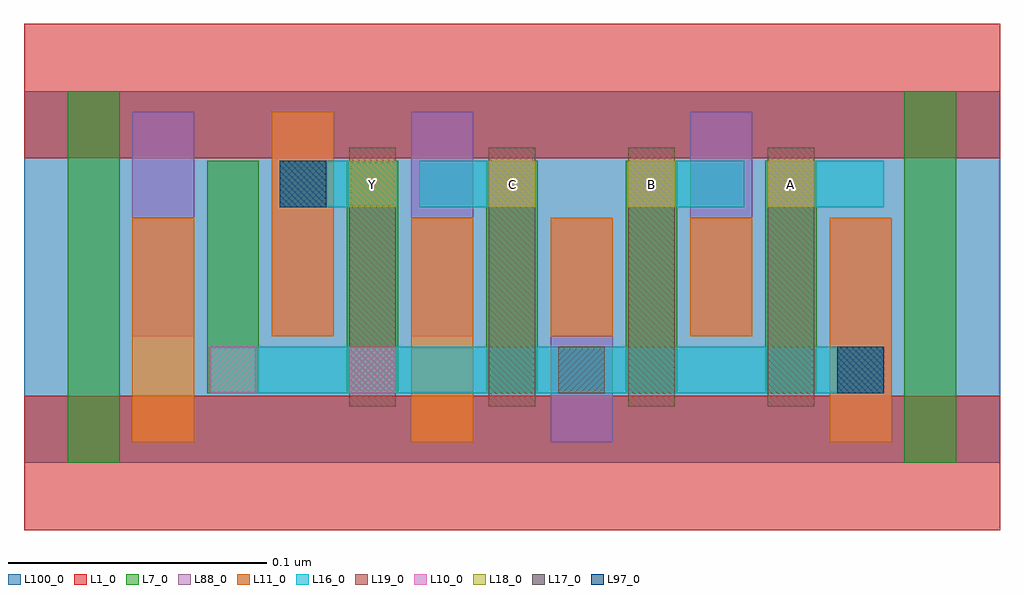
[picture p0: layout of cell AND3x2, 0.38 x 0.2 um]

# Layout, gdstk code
import gdstk
lib = gdstk.Library(unit=1e-6, precision=2.5e-10)
def R(c, l, rs):  # rectangles x0, y0, x1, y1
    for r in rs: c.add(gdstk.rectangle(r[:2], r[2:], *l))
def A(c, l, x, y, w, h, nx, ny, dx, dy):  # array of equal rectangles
    R(c, l, [(x+i*dx, y+j*dy, x+i*dx+w, y+j*dy+h) for i in range(nx) for j in range(ny)])
L1_0 = (1, 0)
L7_0 = (7, 0)
L10_0 = (10, 0)
L11_0 = (11, 0)
L16_0 = (16, 0)
L17_0 = (17, 0)
L18_0 = (18, 0)
L19_0 = (19, 0)
L88_0 = (88, 0)
L97_0 = (97, 0)
L100_0 = (100, 0)

and3x2 = lib.new_cell('AND3x2')
R(and3x2, L1_0, [(0,-0.026,0.378,0.026), (0,0.118,0.378,0.17)])
A(and3x2, L7_0, 0.071, 0.027, 0.02, 0.09, 5, 1, 0.054, 0)
R(and3x2, L7_0, [(0.017,0,0.037,0.144), (0.341,0,0.361,0.144)])
A(and3x2, L10_0, 0.18, 0.099, 0.018, 0.018, 3, 1, 0.054, 0)
R(and3x2, L10_0, [(0.072,0.027,0.09,0.045), (0.126,0.027,0.144,0.045)])
R(and3x2, L11_0, [(0.042,0.008,0.066,0.095), (0.15,0.008,0.174,0.095), (0.312,0.008,0.336,0.095), (0.096,0.049,0.12,0.136), (0.204,0.049,0.228,0.095), (0.258,0.049,0.282,0.095)])
R(and3x2, L16_0, [(0.072,0.027,0.333,0.045), (0.099,0.099,0.144,0.117), (0.153,0.099,0.198,0.117), (0.234,0.099,0.279,0.117), (0.288,0.099,0.333,0.117)])
R(and3x2, L17_0, [(0.207,0.027,0.225,0.045), (0.315,0.027,0.333,0.045), (0.099,0.099,0.117,0.117)])
A(and3x2, L18_0, 0.126, 0.099, 0.018, 0.018, 4, 1, 0.054, 0)
A(and3x2, L19_0, 0.126, 0.022, 0.018, 0.1, 4, 1, 0.054, 0)
A(and3x2, L88_0, 0.042, 0.049, 0.024, 0.087, 3, 1, 0.054, 0)
R(and3x2, L88_0, [(0.204,0.008,0.228,0.095), (0.312,0.008,0.336,0.095), (0.258,0.049,0.282,0.136)])
R(and3x2, L97_0, [(0.315,0.027,0.333,0.045), (0.099,0.099,0.117,0.117)])
R(and3x2, L100_0, [(0,0,0.378,0.144)])
and3x2.add(gdstk.Label('A', (0.297,0.108), layer=19, texttype=251))
and3x2.add(gdstk.Label('B', (0.243,0.108), layer=19, texttype=251))
and3x2.add(gdstk.Label('C', (0.189,0.108), layer=19, texttype=251))
and3x2.add(gdstk.Label('Y', (0.135,0.108), layer=19, texttype=251))

lib.write_gds('AND3x2.gds')
